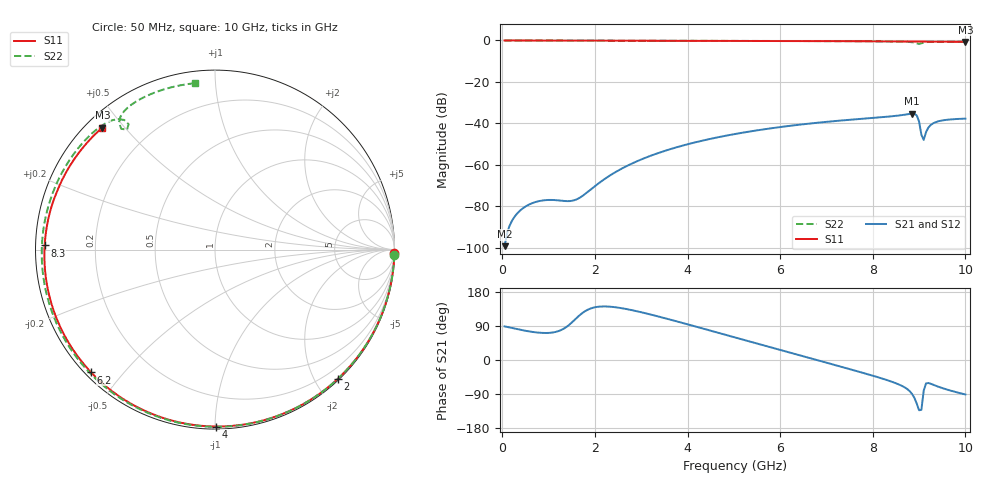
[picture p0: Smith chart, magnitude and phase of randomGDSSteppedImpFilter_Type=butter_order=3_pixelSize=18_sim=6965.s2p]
! freq	dB(S11)	phase(S11)	dB(S12)	phase(S12)
!  dB(S21)	phase(S21)	dB(S22)	phase(S22)
!S-par simulation data
#  GHz  S  DB  R 50
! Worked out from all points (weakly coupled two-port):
!   200 points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, 50 MHz to 10 GHz, reference 50 ohm
!   highest |S21| = -35.32 dB at 8.85 GHz (marker M1); lowest = -99.4 dB at 50 MHz (marker M2)
!   lowest |S11| = -0.7 dB at 10 GHz (marker M3), VSWR 25.77, Z = 2.31 + j21.8 ohm
!   |S11| at or under -10 dB: nowhere
!   |S22| runs from -1.6 to 0.0 dB; largest |S21 - S12| = 0
!   S11 on the Smith chart (normalised r, x): 50 MHz: 1, -96; 2 GHz: 0.02, -2.33; 4 GHz: 0.01, -1.00; 6.2 GHz: 0.02, -0.41; 8.3 GHz: 0.03, +0.01; 10 GHz: 0.05, +0.44
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0.05  -0.00 -1.2  -99.35 88.7  -99.35 88.7  -0.00 -1.6
0.5  -0.02 -11.8  -80.22 77.1  -80.22 77.1  -0.02 -16.0
0.95  -0.03 -22.3  -77.08 71.3  -77.08 71.3  -0.04 -30.1
1.5  -0.04 -35.0  -77.46 98.8  -77.46 98.8  -0.06 -46.9
1.75  -0.05 -40.7  -74.78 125.8  -74.78 125.8  -0.07 -54.4
2  -0.06 -46.4  -70.38 139.1  -70.38 139.1  -0.08 -61.7
2.6  -0.08 -59.8  -61.65 136.3  -61.65 136.3  -0.10 -78.7
3.4  -0.10 -77.1  -54.13 113.9  -54.13 113.9  -0.12 -100.0
4  -0.13 -89.8  -50.15 94.2  -50.15 94.2  -0.15 -115.1
5.05  -0.17 -111.6  -45.08 58.7  -45.08 58.7  -0.20 -140.1
6.2  -0.25 -135.2  -41.26 19.8  -41.26 19.8  -0.26 -166.5
6.7  -0.29 -145.7  -39.98 3.0  -39.98 3.0  -0.30 -178.0
8.3  -0.45 178.6  -36.86 -52.7  -36.86 -52.7  -0.46 143.1
8.35  -0.46 177.4  -36.76 -54.7  -36.76 -54.7  -0.47 141.8
8.85  -0.52 164.9  -35.32 -89.8  -35.32 -89.8  -0.87 126.6
8.95  -0.54 162.3  -36.24 -115.3  -36.24 -115.3  -1.42 124.6
9  -0.55 161.0  -39.16 -132.6  -39.16 -132.6  -1.63 126.2
9.05  -0.56 159.7  -45.56 -131.7  -45.56 -131.7  -1.39 127.8
9.1  -0.56 158.4  -48.03 -80.8  -48.03 -80.8  -1.05 127.1
9.2  -0.57 155.8  -42.09 -60.7  -42.09 -60.7  -0.71 123.5
9.3  -0.58 153.0  -40.06 -65.1  -40.06 -65.1  -0.61 119.8
10  -0.67 132.7  -37.75 -91.0  -37.75 -91.0  -0.60 97.0
